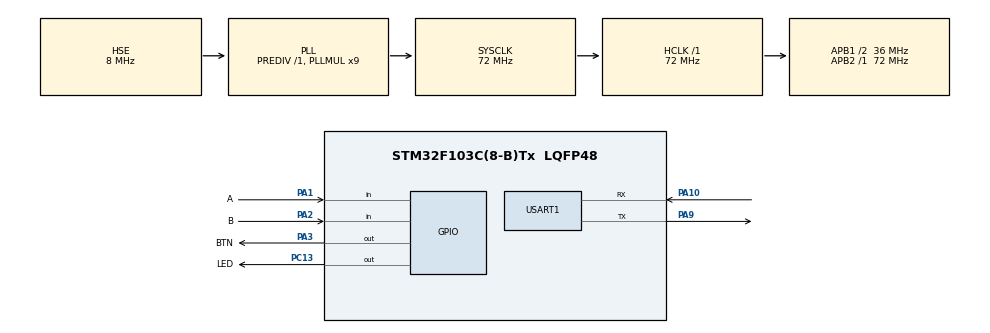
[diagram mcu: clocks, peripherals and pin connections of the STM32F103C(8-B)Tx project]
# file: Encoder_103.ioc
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Mcu.Family=STM32F1
Mcu.Name=STM32F103C(8-B)Tx
Mcu.Package=LQFP48
NVIC.PriorityGroup=NVIC_PRIORITYGROUP_4
NVIC.TIM4_IRQn=true\:15\:0\:false\:false\:true\:false\:true\:true
NVIC.TimeBase=TIM4_IRQn
NVIC.TimeBaseIP=TIM4
PA1.GPIO_Label=A
PA1.Signal=GPIO_Input
PA10.Mode=Asynchronous
PA10.Signal=USART1_RX
PA13.Mode=Serial_Wire
PA13.Signal=SYS_JTMS-SWDIO
PA14.Mode=Serial_Wire
PA14.Signal=SYS_JTCK-SWCLK
PA2.GPIO_Label=B
PA2.Signal=GPIO_Input
PA3.GPIO_Label=BTN
PA3.GPIO_PuPd=GPIO_PULLUP
PA3.Signal=GPIO_Output
PA9.Mode=Asynchronous
PA9.Signal=USART1_TX
PC13-TAMPER-RTC.GPIO_Label=LED
PC13-TAMPER-RTC.Signal=GPIO_Output
PD0-OSC_IN.Mode=HSE-External-Oscillator
PD0-OSC_IN.Signal=RCC_OSC_IN
PD1-OSC_OUT.Mode=HSE-External-Oscillator
PD1-OSC_OUT.Signal=RCC_OSC_OUT
ProjectManager.HeapSize=0x200
ProjectManager.StackSize=0x400
ProjectManager.TargetToolchain=STM32CubeIDE
RCC.AHBFreq_Value=72000000
RCC.APB1CLKDivider=RCC_HCLK_DIV2
RCC.APB1Freq_Value=36000000
RCC.APB1TimFreq_Value=72000000
RCC.APB2Freq_Value=72000000
RCC.APB2TimFreq_Value=72000000
RCC.HCLKFreq_Value=72000000
RCC.PLLMUL=RCC_PLL_MUL9
RCC.PLLSourceVirtual=RCC_PLLSOURCE_HSE
RCC.SYSCLKFreq_VALUE=72000000
RCC.SYSCLKSource=RCC_SYSCLKSOURCE_PLLCLK
RCC.USBFreq_Value=72000000
USART1.VirtualMode=VM_ASYNC
VP_SYS_VS_tim4.Mode=TIM4
board=custom

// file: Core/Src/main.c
/* USER CODE BEGIN Header */
/**
  ******************************************************************************
  * @file           : main.c
  * @brief          : Main program body
  ******************************************************************************
  * @attention
  *
  * Copyright (c) 2024 STMicroelectronics.
  * All rights reserved.
  *
  * This software is licensed under terms that can be found in the LICENSE file
  * in the root directory of this software component.
  * If no LICENSE file comes with this software, it is provided AS-IS.
  *
  ******************************************************************************
  */
/* USER CODE END Header */
#include "main.h"

/* USER CODE BEGIN Includes */
#include <stdio.h> /* для printf */
uint32_t lastUpdateTime = 0;

int32_t time1click = 0;
int8_t counter = 0;
int8_t btn_cur = 0;
int8_t btn_prev = 0;
int32_t Tbtn = 0;
/* USER CODE END Includes */

UART_HandleTypeDef huart1;

void SystemClock_Config(void);
static void MX_GPIO_Init(void);
static void MX_USART1_UART_Init(void);
/* USER CODE BEGIN PFP */
int _write(int file, char *ptr, int len) {
	int i;
	HAL_UART_Transmit(&huart1, (uint8_t*) ptr, len, 50);
	for (i = 0; i < len; i++) {
		ITM_SendChar(*ptr++);
	}
	return len;
}
/* USER CODE END PFP */

int main(void)
{

  /* MCU Configuration--------------------------------------------------------*/

  /* Reset of all peripherals, Initializes the Flash interface and the Systick. */
  HAL_Init();

  /* Configure the system clock */
  SystemClock_Config();

  /* Initialize all configured peripherals */
  MX_GPIO_Init();
  MX_USART1_UART_Init();
  /* USER CODE BEGIN 2 */
  lastUpdateTime = HAL_GetTick();
  time1click = HAL_GetTick();

  printf("Hello world! \r\n");
  /* USER CODE END 2 */

  /* Infinite loop */
  while (1)
  {

    /* USER CODE BEGIN 3 */
		if (HAL_GPIO_ReadPin(A_GPIO_Port, A_Pin) == GPIO_PIN_RESET) { // If the OUTA is RESET
			if (HAL_GPIO_ReadPin(B_GPIO_Port, B_Pin) == GPIO_PIN_RESET) { // If OUTB is also reset... CCK
				while (HAL_GPIO_ReadPin(B_GPIO_Port, B_Pin) == GPIO_PIN_RESET) {};  // wait for the OUTB to go high

				if ((HAL_GetTick() - time1click) <= 50) { // Подбери необходимые значения!
					counter = counter - 5;  // Подбери необходимые значения!
				} else {
					counter--;
				}
				time1click = HAL_GetTick();
				while (HAL_GPIO_ReadPin(A_GPIO_Port, A_Pin) == GPIO_PIN_RESET) {};  // wait for the OUTA to go high
				HAL_Delay(5);  // Защита от дребезга
			}

			else if (HAL_GPIO_ReadPin(B_GPIO_Port, B_Pin) == GPIO_PIN_SET) // If OUTB is also set
					{
				while (HAL_GPIO_ReadPin(B_GPIO_Port, B_Pin) == GPIO_PIN_SET) {};  // wait for the OUTB to go LOW.. CK

				if ((HAL_GetTick() - time1click) <= 50) { // Подбери необходимые значения!
					counter = counter + 5; // Подбери необходимые значения!
				} else {
					counter++;
				}
				time1click = HAL_GetTick();

				while (HAL_GPIO_ReadPin(A_GPIO_Port, A_Pin) == GPIO_PIN_RESET) {};  // wait for the OUTA to go high
				while (HAL_GPIO_ReadPin(B_GPIO_Port, B_Pin) == GPIO_PIN_RESET) {};  // wait for the OUTB to go high
				HAL_Delay(5);  // Защита от дребезга
			}

			if (counter < 0)
				counter = 0;
			if (counter > 100)
				counter = 100;
		}
		/******************************** BTN **************************************/
		btn_cur = HAL_GPIO_ReadPin(GPIOA, GPIO_PIN_3);
		if ((btn_prev == 0) && (btn_cur != 0)) {  //т.е. кнопка нажата
			if (HAL_GetTick() - Tbtn >= 300) {
				HAL_GPIO_TogglePin(LED_GPIO_Port, LED_Pin);
				Tbtn = HAL_GetTick();
			}
		}
		btn_prev = btn_cur;
//    osDelay(1);
		//printf("test \r\n");
  }
  /* USER CODE END 3 */
}

void SystemClock_Config(void)
{
  RCC_OscInitTypeDef RCC_OscInitStruct = {0};
  RCC_ClkInitTypeDef RCC_ClkInitStruct = {0};

  /** Initializes the RCC Oscillators according to the specified parameters
  * in the RCC_OscInitTypeDef structure.
  */
  RCC_OscInitStruct.OscillatorType = RCC_OSCILLATORTYPE_HSE;
  RCC_OscInitStruct.HSEState = RCC_HSE_ON;
  RCC_OscInitStruct.HSEPredivValue = RCC_HSE_PREDIV_DIV1;
  RCC_OscInitStruct.HSIState = RCC_HSI_ON;
  RCC_OscInitStruct.PLL.PLLState = RCC_PLL_ON;
  RCC_OscInitStruct.PLL.PLLSource = RCC_PLLSOURCE_HSE;
  RCC_OscInitStruct.PLL.PLLMUL = RCC_PLL_MUL9;
  if (HAL_RCC_OscConfig(&RCC_OscInitStruct) != HAL_OK)
  {
    Error_Handler();
  }

  /** Initializes the CPU, AHB and APB buses clocks
  */
  RCC_ClkInitStruct.ClockType = RCC_CLOCKTYPE_HCLK|RCC_CLOCKTYPE_SYSCLK
                              |RCC_CLOCKTYPE_PCLK1|RCC_CLOCKTYPE_PCLK2;
  RCC_ClkInitStruct.SYSCLKSource = RCC_SYSCLKSOURCE_PLLCLK;
  RCC_ClkInitStruct.AHBCLKDivider = RCC_SYSCLK_DIV1;
  RCC_ClkInitStruct.APB1CLKDivider = RCC_HCLK_DIV2;
  RCC_ClkInitStruct.APB2CLKDivider = RCC_HCLK_DIV1;

  if (HAL_RCC_ClockConfig(&RCC_ClkInitStruct, FLASH_LATENCY_2) != HAL_OK)
  {
    Error_Handler();
  }
}

static void MX_USART1_UART_Init(void)
{

  huart1.Instance = USART1;
  huart1.Init.BaudRate = 115200;
  huart1.Init.WordLength = UART_WORDLENGTH_8B;
  huart1.Init.StopBits = UART_STOPBITS_1;
  huart1.Init.Parity = UART_PARITY_NONE;
  huart1.Init.Mode = UART_MODE_TX_RX;
  huart1.Init.HwFlowCtl = UART_HWCONTROL_NONE;
  huart1.Init.OverSampling = UART_OVERSAMPLING_16;
  if (HAL_UART_Init(&huart1) != HAL_OK)
  {
    Error_Handler();
  }

}

static void MX_GPIO_Init(void)
{
  GPIO_InitTypeDef GPIO_InitStruct = {0};

  /* GPIO Ports Clock Enable */
  __HAL_RCC_GPIOC_CLK_ENABLE();
  __HAL_RCC_GPIOD_CLK_ENABLE();
  __HAL_RCC_GPIOA_CLK_ENABLE();

  /*Configure GPIO pin Output Level */
  HAL_GPIO_WritePin(LED_GPIO_Port, LED_Pin, GPIO_PIN_RESET);

  /*Configure GPIO pin Output Level */
  HAL_GPIO_WritePin(BTN_GPIO_Port, BTN_Pin, GPIO_PIN_RESET);

  /*Configure GPIO pin : LED_Pin */
  GPIO_InitStruct.Pin = LED_Pin;
  GPIO_InitStruct.Mode = GPIO_MODE_OUTPUT_PP;
  GPIO_InitStruct.Pull = GPIO_NOPULL;
  GPIO_InitStruct.Speed = GPIO_SPEED_FREQ_LOW;
  HAL_GPIO_Init(LED_GPIO_Port, &GPIO_InitStruct);

  /*Configure GPIO pins : A_Pin B_Pin */
  GPIO_InitStruct.Pin = A_Pin|B_Pin;
  GPIO_InitStruct.Mode = GPIO_MODE_INPUT;
  GPIO_InitStruct.Pull = GPIO_NOPULL;
  HAL_GPIO_Init(GPIOA, &GPIO_InitStruct);

  /*Configure GPIO pin : BTN_Pin */
  GPIO_InitStruct.Pin = BTN_Pin;
  GPIO_InitStruct.Mode = GPIO_MODE_OUTPUT_PP;
  GPIO_InitStruct.Pull = GPIO_PULLUP;
  GPIO_InitStruct.Speed = GPIO_SPEED_FREQ_LOW;
  HAL_GPIO_Init(BTN_GPIO_Port, &GPIO_InitStruct);

}

void HAL_TIM_PeriodElapsedCallback(TIM_HandleTypeDef *htim)
{
  if (htim->Instance == TIM4) {
    HAL_IncTick();
  }
}

void Error_Handler(void)
{
  __disable_irq();
  while (1)
  {
  }
}
